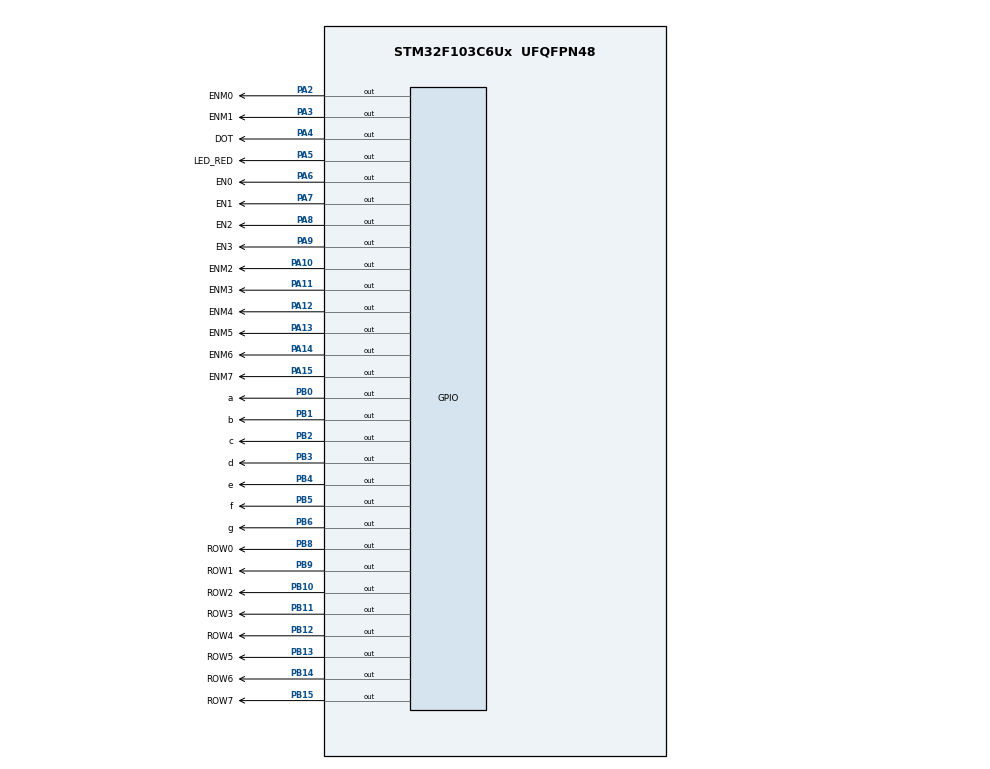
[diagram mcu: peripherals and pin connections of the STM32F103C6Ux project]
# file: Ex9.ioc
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Mcu.Family=STM32F1
Mcu.Name=STM32F103C6Ux
Mcu.Package=UFQFPN48
NVIC.PriorityGroup=NVIC_PRIORITYGROUP_4
NVIC.TIM2_IRQn=true\:0\:0\:false\:false\:true\:true\:true
PA10.GPIO_Label=ENM2
PA10.Signal=GPIO_Output
PA11.GPIO_Label=ENM3
PA11.Signal=GPIO_Output
PA12.GPIO_Label=ENM4
PA12.Signal=GPIO_Output
PA13.GPIO_Label=ENM5
PA13.Signal=GPIO_Output
PA14.GPIO_Label=ENM6
PA14.Signal=GPIO_Output
PA15.GPIO_Label=ENM7
PA15.Signal=GPIO_Output
PA2.GPIO_Label=ENM0
PA2.Signal=GPIO_Output
PA3.GPIO_Label=ENM1
PA3.Signal=GPIO_Output
PA4.GPIO_Label=DOT
PA4.Signal=GPIO_Output
PA5.GPIO_Label=LED_RED
PA5.Signal=GPIO_Output
PA6.GPIO_Label=EN0
PA6.Signal=GPIO_Output
PA7.GPIO_Label=EN1
PA7.Signal=GPIO_Output
PA8.GPIO_Label=EN2
PA8.Signal=GPIO_Output
PA9.GPIO_Label=EN3
PA9.Signal=GPIO_Output
PB0.GPIO_Label=a
PB0.Signal=GPIO_Output
PB1.GPIO_Label=b
PB1.Signal=GPIO_Output
PB10.GPIO_Label=ROW2
PB10.Signal=GPIO_Output
PB11.GPIO_Label=ROW3
PB11.Signal=GPIO_Output
PB12.GPIO_Label=ROW4
PB12.Signal=GPIO_Output
PB13.GPIO_Label=ROW5
PB13.Signal=GPIO_Output
PB14.GPIO_Label=ROW6
PB14.Signal=GPIO_Output
PB15.GPIO_Label=ROW7
PB15.Signal=GPIO_Output
PB2.GPIO_Label=c
PB2.Signal=GPIO_Output
PB3.GPIO_Label=d
PB3.Signal=GPIO_Output
PB4.GPIO_Label=e
PB4.Signal=GPIO_Output
PB5.GPIO_Label=f
PB5.Signal=GPIO_Output
PB6.GPIO_Label=g
PB6.Signal=GPIO_Output
PB8.GPIO_Label=ROW0
PB8.Signal=GPIO_Output
PB9.GPIO_Label=ROW1
PB9.Signal=GPIO_Output
ProjectManager.HeapSize=0x200
ProjectManager.StackSize=0x400
ProjectManager.TargetToolchain=STM32CubeIDE
RCC.APB1Freq_Value=8000000
RCC.APB2Freq_Value=8000000
TIM2.Period=9
TIM2.Prescaler=7999
VP_SYS_VS_ND.Mode=No_Debug
VP_TIM2_VS_ClockSourceINT.Mode=Internal
board=custom

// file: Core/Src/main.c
/* USER CODE BEGIN Header */
/**
  ******************************************************************************
  * @file           : main.c
  * @brief          : Main program body
  ******************************************************************************
  * @attention
  *
  * <h2><center>&copy; Copyright (c) 2023 STMicroelectronics.
  * All rights reserved.</center></h2>
  *
  * This software component is licensed by ST under BSD 3-Clause license,
  * the "License"; You may not use this file except in compliance with the
  * License. You may obtain a copy of the License at:
  *                        opensource.org/licenses/BSD-3-Clause
  *
  ******************************************************************************
  */
/* USER CODE END Header */
#include "main.h"
#include "software_timer.h"

TIM_HandleTypeDef htim2;

void SystemClock_Config(void);
static void MX_GPIO_Init(void);
static void MX_TIM2_Init(void);

/* USER CODE BEGIN 0 */
void display7SEG(int num){
	if (num == 0){
		HAL_GPIO_WritePin(a_GPIO_Port, a_Pin, GPIO_PIN_RESET);
		HAL_GPIO_WritePin(b_GPIO_Port, b_Pin, GPIO_PIN_RESET);
		HAL_GPIO_WritePin(c_GPIO_Port, c_Pin, GPIO_PIN_RESET);
		HAL_GPIO_WritePin(d_GPIO_Port, d_Pin, GPIO_PIN_RESET);
		HAL_GPIO_WritePin(e_GPIO_Port, e_Pin, GPIO_PIN_RESET);
		HAL_GPIO_WritePin(f_GPIO_Port, f_Pin, GPIO_PIN_RESET);
		HAL_GPIO_WritePin(g_GPIO_Port, g_Pin, GPIO_PIN_SET);
	}
	if (num == 1){
		HAL_GPIO_WritePin(a_GPIO_Port, a_Pin, GPIO_PIN_SET);
		HAL_GPIO_WritePin(b_GPIO_Port, b_Pin, GPIO_PIN_RESET);
		HAL_GPIO_WritePin(c_GPIO_Port, c_Pin, GPIO_PIN_RESET);
		HAL_GPIO_WritePin(d_GPIO_Port, d_Pin, GPIO_PIN_SET);
		HAL_GPIO_WritePin(e_GPIO_Port, e_Pin, GPIO_PIN_SET);
		HAL_GPIO_WritePin(f_GPIO_Port, f_Pin, GPIO_PIN_SET);
		HAL_GPIO_WritePin(g_GPIO_Port, g_Pin, GPIO_PIN_SET);
	}
	if (num == 2){
		HAL_GPIO_WritePin(a_GPIO_Port, a_Pin, GPIO_PIN_RESET);
		HAL_GPIO_WritePin(b_GPIO_Port, b_Pin, GPIO_PIN_RESET);
		HAL_GPIO_WritePin(c_GPIO_Port, c_Pin, GPIO_PIN_SET);
		HAL_GPIO_WritePin(d_GPIO_Port, d_Pin, GPIO_PIN_RESET);
		HAL_GPIO_WritePin(e_GPIO_Port, e_Pin, GPIO_PIN_RESET);
		HAL_GPIO_WritePin(f_GPIO_Port, f_Pin, GPIO_PIN_SET);
		HAL_GPIO_WritePin(g_GPIO_Port, g_Pin, GPIO_PIN_RESET);
	}
	if (num == 3){
		HAL_GPIO_WritePin(a_GPIO_Port, a_Pin, GPIO_PIN_RESET);
		HAL_GPIO_WritePin(b_GPIO_Port, b_Pin, GPIO_PIN_RESET);
		HAL_GPIO_WritePin(c_GPIO_Port, c_Pin, GPIO_PIN_RESET);
		HAL_GPIO_WritePin(d_GPIO_Port, d_Pin, GPIO_PIN_RESET);
		HAL_GPIO_WritePin(e_GPIO_Port, e_Pin, GPIO_PIN_SET);
		HAL_GPIO_WritePin(f_GPIO_Port, f_Pin, GPIO_PIN_SET);
		HAL_GPIO_WritePin(g_GPIO_Port, g_Pin, GPIO_PIN_RESET);
	}
	if (num == 4){
		HAL_GPIO_WritePin(a_GPIO_Port, a_Pin, GPIO_PIN_SET);
		HAL_GPIO_WritePin(b_GPIO_Port, b_Pin, GPIO_PIN_RESET);
		HAL_GPIO_WritePin(c_GPIO_Port, c_Pin, GPIO_PIN_RESET);
		HAL_GPIO_WritePin(d_GPIO_Port, d_Pin, GPIO_PIN_SET);
		HAL_GPIO_WritePin(e_GPIO_Port, e_Pin, GPIO_PIN_SET);
		HAL_GPIO_WritePin(f_GPIO_Port, f_Pin, GPIO_PIN_RESET);
		HAL_GPIO_WritePin(g_GPIO_Port, g_Pin, GPIO_PIN_RESET);
	}
	if (num == 5){
		HAL_GPIO_WritePin(a_GPIO_Port, a_Pin, GPIO_PIN_RESET);
		HAL_GPIO_WritePin(b_GPIO_Port, b_Pin, GPIO_PIN_SET);
		HAL_GPIO_WritePin(c_GPIO_Port, c_Pin, GPIO_PIN_RESET);
		HAL_GPIO_WritePin(d_GPIO_Port, d_Pin, GPIO_PIN_RESET);
		HAL_GPIO_WritePin(e_GPIO_Port, e_Pin, GPIO_PIN_SET);
		HAL_GPIO_WritePin(f_GPIO_Port, f_Pin, GPIO_PIN_RESET);
		HAL_GPIO_WritePin(g_GPIO_Port, g_Pin, GPIO_PIN_RESET);
	}
	if (num == 6){
		HAL_GPIO_WritePin(a_GPIO_Port, a_Pin, GPIO_PIN_RESET);
		HAL_GPIO_WritePin(b_GPIO_Port, b_Pin, GPIO_PIN_SET);
		HAL_GPIO_WritePin(c_GPIO_Port, c_Pin, GPIO_PIN_RESET);
		HAL_GPIO_WritePin(d_GPIO_Port, d_Pin, GPIO_PIN_RESET);
		HAL_GPIO_WritePin(e_GPIO_Port, e_Pin, GPIO_PIN_RESET);
		HAL_GPIO_WritePin(f_GPIO_Port, f_Pin, GPIO_PIN_RESET);
		HAL_GPIO_WritePin(g_GPIO_Port, g_Pin, GPIO_PIN_RESET);
	}
	if (num == 7){
		HAL_GPIO_WritePin(a_GPIO_Port, a_Pin, GPIO_PIN_RESET);
		HAL_GPIO_WritePin(b_GPIO_Port, b_Pin, GPIO_PIN_RESET);
		HAL_GPIO_WritePin(c_GPIO_Port, c_Pin, GPIO_PIN_RESET);
		HAL_GPIO_WritePin(d_GPIO_Port, d_Pin, GPIO_PIN_SET);
		HAL_GPIO_WritePin(e_GPIO_Port, e_Pin, GPIO_PIN_SET);
		HAL_GPIO_WritePin(f_GPIO_Port, f_Pin, GPIO_PIN_SET);
		HAL_GPIO_WritePin(g_GPIO_Port, g_Pin, GPIO_PIN_SET);
	}
	if (num == 8){
		HAL_GPIO_WritePin(a_GPIO_Port, a_Pin, GPIO_PIN_RESET);
		HAL_GPIO_WritePin(b_GPIO_Port, b_Pin, GPIO_PIN_RESET);
		HAL_GPIO_WritePin(c_GPIO_Port, c_Pin, GPIO_PIN_RESET);
		HAL_GPIO_WritePin(d_GPIO_Port, d_Pin, GPIO_PIN_RESET);
		HAL_GPIO_WritePin(e_GPIO_Port, e_Pin, GPIO_PIN_RESET);
		HAL_GPIO_WritePin(f_GPIO_Port, f_Pin, GPIO_PIN_RESET);
		HAL_GPIO_WritePin(g_GPIO_Port, g_Pin, GPIO_PIN_RESET);
	}
	if (num == 9) {
		HAL_GPIO_WritePin(a_GPIO_Port, a_Pin, GPIO_PIN_RESET);
		HAL_GPIO_WritePin(b_GPIO_Port, b_Pin, GPIO_PIN_RESET);
		HAL_GPIO_WritePin(c_GPIO_Port, c_Pin, GPIO_PIN_RESET);
		HAL_GPIO_WritePin(d_GPIO_Port, d_Pin, GPIO_PIN_RESET);
		HAL_GPIO_WritePin(e_GPIO_Port, e_Pin, GPIO_PIN_SET);
		HAL_GPIO_WritePin(f_GPIO_Port, f_Pin, GPIO_PIN_RESET);
		HAL_GPIO_WritePin(g_GPIO_Port, g_Pin, GPIO_PIN_RESET);
	}
}

const int MAX_LED = 4;
int index_led = 0;
int led_buffer[4] = {1, 2, 3, 0};
void update7SEG(int index){
	switch (index){
		case 0:
			//Display the first 7SEG with led_buffer[0]
			setTimer1(100);
			display7SEG(led_buffer[0]);
  		  	HAL_GPIO_WritePin(EN0_GPIO_Port, EN0_Pin, RESET);
  		  	HAL_GPIO_WritePin(EN1_GPIO_Port, EN1_Pin, SET);
 		  	HAL_GPIO_WritePin(EN2_GPIO_Port, EN2_Pin, SET);
  		  	HAL_GPIO_WritePin(EN3_GPIO_Port, EN3_Pin, SET);
			break;
		case 1:
			//Display the first 7SEG with led_buffer[1]
			setTimer1(100);
			display7SEG(led_buffer[1]);
  		  	HAL_GPIO_WritePin(EN0_GPIO_Port, EN0_Pin, SET);
  		  	HAL_GPIO_WritePin(EN1_GPIO_Port, EN1_Pin, RESET);
 		  	HAL_GPIO_WritePin(EN2_GPIO_Port, EN2_Pin, SET);
  		  	HAL_GPIO_WritePin(EN3_GPIO_Port, EN3_Pin, SET);
			break;
		case 2:
			//Display the first 7SEG with led_buffer[2]
			setTimer1(100);
			display7SEG(led_buffer[2]);
  		  	HAL_GPIO_WritePin(EN0_GPIO_Port, EN0_Pin, SET);
  		  	HAL_GPIO_WritePin(EN1_GPIO_Port, EN1_Pin, SET);
 		  	HAL_GPIO_WritePin(EN2_GPIO_Port, EN2_Pin, RESET);
  		  	HAL_GPIO_WritePin(EN3_GPIO_Port, EN3_Pin, SET);
			break;
		case 3:
			//Display the first 7SEG with led_buffer[3]
			setTimer1(100);
			display7SEG(led_buffer[3]);
  		  	HAL_GPIO_WritePin(EN0_GPIO_Port, EN0_Pin, SET);
  		  	HAL_GPIO_WritePin(EN1_GPIO_Port, EN1_Pin, SET);
 		  	HAL_GPIO_WritePin(EN2_GPIO_Port, EN2_Pin, SET);
  		  	HAL_GPIO_WritePin(EN3_GPIO_Port, EN3_Pin, RESET);
			break;
	}
}

void updateClockBuffer(int hour, int min){
	if (hour >= 0 && hour <= 9){
		led_buffer[0] = 0;
		led_buffer[1] = hour;
	}
	else if (hour >= 10 && hour <= 19){
		led_buffer[0] = 1;
		led_buffer[1] = hour-10;
	}
	else if (hour >= 20 && hour <= 24){
		led_buffer[0] = 2;
		led_buffer[1] = hour-20;
	}
	if (min <= 9){
		led_buffer[2] = 0;
		led_buffer[3] = min;
	}
	if (min >= 10 && min <= 19){
		led_buffer[2] = 1;
		led_buffer[3] = min-10;
	}
	if (min >= 20 && min <= 29){
		led_buffer[2] = 2;
		led_buffer[3] = min-20;
	}
	if (min >= 30 && min <= 39){
		led_buffer[2] = 3;
		led_buffer[3] = min-30;
	}
	if (min >= 40 && min <= 49){
		led_buffer[2] = 4;
		led_buffer[3] = min-40;
	}
	if (min >= 50 && min <= 59){
		led_buffer[2] = 5;
		led_buffer[3] = min-50;
	}
}

void clearCol(){
	HAL_GPIO_WritePin(ENM0_GPIO_Port, ENM0_Pin, SET);
	HAL_GPIO_WritePin(ENM1_GPIO_Port, ENM1_Pin, SET);
	HAL_GPIO_WritePin(ENM2_GPIO_Port, ENM2_Pin, SET);
	HAL_GPIO_WritePin(ENM3_GPIO_Port, ENM3_Pin, SET);
	HAL_GPIO_WritePin(ENM4_GPIO_Port, ENM4_Pin, SET);
	HAL_GPIO_WritePin(ENM5_GPIO_Port, ENM5_Pin, SET);
	HAL_GPIO_WritePin(ENM6_GPIO_Port, ENM6_Pin, SET);
	HAL_GPIO_WritePin(ENM7_GPIO_Port, ENM7_Pin, SET);
}

void clearRow(){
	HAL_GPIO_WritePin(ROW0_GPIO_Port, ROW0_Pin, SET);
	HAL_GPIO_WritePin(ROW1_GPIO_Port, ROW1_Pin, SET);
	HAL_GPIO_WritePin(ROW2_GPIO_Port, ROW2_Pin, SET);
	HAL_GPIO_WritePin(ROW3_GPIO_Port, ROW3_Pin, SET);
	HAL_GPIO_WritePin(ROW4_GPIO_Port, ROW4_Pin, SET);
	HAL_GPIO_WritePin(ROW5_GPIO_Port, ROW5_Pin, SET);
	HAL_GPIO_WritePin(ROW6_GPIO_Port, ROW6_Pin, SET);

}
void setCol(uint8_t code){
	  if((code >> 0) & 0x01)
		  HAL_GPIO_WritePin(ENM7_GPIO_Port, ENM7_Pin, RESET);
	  if((code >> 1) & 0x01)
		  HAL_GPIO_WritePin(ENM6_GPIO_Port, ENM6_Pin, RESET);
	  if((code >> 2) & 0x01)
		  HAL_GPIO_WritePin(ENM5_GPIO_Port, ENM5_Pin, RESET);
	  if((code >> 3) & 0x01)
		  HAL_GPIO_WritePin(ENM4_GPIO_Port, ENM4_Pin, RESET);
	  if((code >> 4) & 0x01)
		  HAL_GPIO_WritePin(ENM3_GPIO_Port, ENM3_Pin, RESET);
	  if((code >> 5) & 0x01)
		  HAL_GPIO_WritePin(ENM2_GPIO_Port, ENM2_Pin, RESET);
	  if((code >> 6) & 0x01)
		  HAL_GPIO_WritePin(ENM1_GPIO_Port, ENM1_Pin, RESET);
	  if((code >> 7) & 0x01)
		  HAL_GPIO_WritePin(ENM0_GPIO_Port, ENM0_Pin, RESET);
}
void setRow(uint8_t code){
	  if((code >> 0) & 0x01)
		  HAL_GPIO_WritePin(ROW7_GPIO_Port, ROW7_Pin, RESET);
	  if((code >> 1) & 0x01)
		  HAL_GPIO_WritePin(ROW6_GPIO_Port, ROW6_Pin, RESET);
	  if((code >> 2) & 0x01)
		  HAL_GPIO_WritePin(ROW5_GPIO_Port, ROW5_Pin, RESET);
	  if((code >> 3) & 0x01)
		  HAL_GPIO_WritePin(ROW4_GPIO_Port, ROW4_Pin, RESET);
	  if((code >> 4) & 0x01)
		  HAL_GPIO_WritePin(ROW3_GPIO_Port, ROW3_Pin, RESET);
	  if((code >> 5) & 0x01)
		  HAL_GPIO_WritePin(ROW2_GPIO_Port, ROW2_Pin, RESET);
	  if((code >> 6) & 0x01)
		  HAL_GPIO_WritePin(ROW1_GPIO_Port, ROW1_Pin, RESET);
	  if((code >> 7) & 0x01)
		  HAL_GPIO_WritePin(ROW0_GPIO_Port, ROW0_Pin, RESET);
}
const int MAX_LED_MATRIX = 8;
int index_led_matrix = 0;
// 0001 1000
uint8_t matrix_buffer[8] = {0x00, 0x3E, 0x48, 0x88, 0x48, 0x3E, 0x00, 0x00};
void updateLEDMatrix(int index_led_matrix){
    	  	clearCol();
      		clearRow();
      	switch(index_led_matrix){
      		case 0:
      			HAL_GPIO_WritePin(GPIOA, ENM0_Pin, RESET);
      			break;
      		case 1:
      			HAL_GPIO_WritePin(GPIOA, ENM1_Pin, RESET);
      			break;
      		case 2:
      			HAL_GPIO_WritePin(GPIOA, ENM2_Pin, RESET);
      			break;
      		case 3:
      			HAL_GPIO_WritePin(GPIOA, ENM3_Pin, RESET);
      			break;
      		case 4:
      			HAL_GPIO_WritePin(GPIOA, ENM4_Pin, RESET);
      			break;
      		case 5:
      			HAL_GPIO_WritePin(GPIOA, ENM5_Pin, RESET);
      			break;
      		case 6:
      			HAL_GPIO_WritePin(GPIOA, ENM6_Pin, RESET);
      			break;
      		case 7:
      			HAL_GPIO_WritePin(GPIOA, ENM7_Pin, RESET);
      			break;
      		default:
      			break;
      	}
      	setRow(matrix_buffer[index_led_matrix]);
}

/*
 * void updateLEDMatrix(int index_led_matrix){
    	  	clearCol();
      		clearRow();
      	switch(index_led_matrix){
      		case 0:
      			HAL_GPIO_WritePin(GPIOA, ROW0_Pin, RESET);
      			break;
      		case 1:
      			HAL_GPIO_WritePin(GPIOA, ROW1_Pin, RESET);
      			break;
      		case 2:
      			HAL_GPIO_WritePin(GPIOA, ROW2_Pin, RESET);
      			break;
      		case 3:
      			HAL_GPIO_WritePin(GPIOA, ROW3_Pin, RESET);
      			break;
      		case 4:
      			HAL_GPIO_WritePin(GPIOA, ROW4_Pin, RESET);
      			break;
      		case 5:
      			HAL_GPIO_WritePin(GPIOA, ROW5_Pin, RESET);
      			break;
      		case 6:
      			HAL_GPIO_WritePin(GPIOA, ROW6_Pin, RESET);
      			break;
      		case 7:
      			HAL_GPIO_WritePin(GPIOA, ROW7_Pin, RESET);
      			break;
      		default:
      			break;
      	}
      	setCol(matrix_buffer[index_led_matrix]);
}*/
/* USER CODE END 0 */

int main(void)
{

  /* MCU Configuration--------------------------------------------------------*/

  /* Reset of all peripherals, Initializes the Flash interface and the Systick. */
  HAL_Init();

  /* USER CODE BEGIN Init */
//  int status = 1;
  setTimer0(10);
  setTimer1(100);
  setTimer2(100);
  setTimer3(100);
  setTimer4(100);
//  HAL_GPIO_WritePin(ENM0_GPIO_Port, ENM0_Pin, SET);
//  HAL_GPIO_WritePin(ENM1_GPIO_Port, ENM1_Pin, SET);
//  HAL_GPIO_WritePin(ENM2_GPIO_Port, ENM2_Pin, SET);
//  HAL_GPIO_WritePin(ENM3_GPIO_Port, ENM3_Pin, SET);
//  HAL_GPIO_WritePin(ENM4_GPIO_Port, ENM4_Pin, SET);
//  HAL_GPIO_WritePin(ENM5_GPIO_Port, ENM5_Pin, SET);
//  HAL_GPIO_WritePin(ENM6_GPIO_Port, ENM6_Pin, SET);
//  HAL_GPIO_WritePin(ENM7_GPIO_Port, ENM7_Pin, SET);
//
//  HAL_GPIO_WritePin(ROW0_GPIO_Port, ROW0_Pin, SET);
//  HAL_GPIO_WritePin(ROW1_GPIO_Port, ROW1_Pin, SET);
//  HAL_GPIO_WritePin(ROW2_GPIO_Port, ROW2_Pin, SET);
//  HAL_GPIO_WritePin(ROW3_GPIO_Port, ROW3_Pin, SET);
//  HAL_GPIO_WritePin(ROW4_GPIO_Port, ROW4_Pin, SET);
//  HAL_GPIO_WritePin(ROW5_GPIO_Port, ROW5_Pin, SET);
//  HAL_GPIO_WritePin(ROW6_GPIO_Port, ROW6_Pin, SET);
//  HAL_GPIO_WritePin(ROW7_GPIO_Port, ROW7_Pin, SET);

  /* USER CODE END Init */

  /* Configure the system clock */
  SystemClock_Config();

  /* Initialize all configured peripherals */
  MX_GPIO_Init();
  MX_TIM2_Init();
  /* USER CODE BEGIN 2 */
  HAL_TIM_Base_Start_IT(&htim2);
  /* USER CODE END 2 */

  /* Infinite loop */
  /* USER CODE BEGIN WHILE */
  int hour = 15, min = 8, sec = 50;
  while (1)
  {
    /* USER CODE END WHILE */

    /* USER CODE BEGIN 3 */
	  if (timer0_flag == 1){
		  if (sec >= 60){
			  sec = 0;
			  min++;
		  }
		  if (min >= 60){
			  min = 0;
			  hour++;
		  }
		  if (hour >=24){
			  hour = 0;
		  }
		  sec++;
		  updateClockBuffer(hour,min);
		  setTimer0(100);
	  }

  	  if (timer1_flag == 1){
  		  update7SEG(index_led);
  		  if (index_led >= 3){
  			  index_led = 0;
  		  }
  		  else {
  			  index_led++;
  		  }
  	  }
  	  if (timer2_flag == 1){
  		  HAL_GPIO_TogglePin(LED_RED_GPIO_Port, LED_RED_Pin);
  		  setTimer2(100);
  	  }
  	  if (timer3_flag == 1){
  		  HAL_GPIO_TogglePin(DOT_GPIO_Port, DOT_Pin);
  		  setTimer3(100);
  	  }

  	  if (timer4_flag == 1){
  		  updateLEDMatrix(index_led_matrix++);
  		  if (index_led_matrix == MAX_LED_MATRIX){
 			  index_led_matrix = 0;
 		  }

  		  setTimer4(50);

  	  }

  	}
  /* USER CODE END 3 */
}

void SystemClock_Config(void)
{
  RCC_OscInitTypeDef RCC_OscInitStruct = {0};
  RCC_ClkInitTypeDef RCC_ClkInitStruct = {0};

  /** Initializes the RCC Oscillators according to the specified parameters
  * in the RCC_OscInitTypeDef structure.
  */
  RCC_OscInitStruct.OscillatorType = RCC_OSCILLATORTYPE_HSI;
  RCC_OscInitStruct.HSIState = RCC_HSI_ON;
  RCC_OscInitStruct.HSICalibrationValue = RCC_HSICALIBRATION_DEFAULT;
  RCC_OscInitStruct.PLL.PLLState = RCC_PLL_NONE;
  if (HAL_RCC_OscConfig(&RCC_OscInitStruct) != HAL_OK)
  {
    Error_Handler();
  }
  /** Initializes the CPU, AHB and APB buses clocks
  */
  RCC_ClkInitStruct.ClockType = RCC_CLOCKTYPE_HCLK|RCC_CLOCKTYPE_SYSCLK
                              |RCC_CLOCKTYPE_PCLK1|RCC_CLOCKTYPE_PCLK2;
  RCC_ClkInitStruct.SYSCLKSource = RCC_SYSCLKSOURCE_HSI;
  RCC_ClkInitStruct.AHBCLKDivider = RCC_SYSCLK_DIV1;
  RCC_ClkInitStruct.APB1CLKDivider = RCC_HCLK_DIV1;
  RCC_ClkInitStruct.APB2CLKDivider = RCC_HCLK_DIV1;

  if (HAL_RCC_ClockConfig(&RCC_ClkInitStruct, FLASH_LATENCY_0) != HAL_OK)
  {
    Error_Handler();
  }
}

static void MX_TIM2_Init(void)
{

  TIM_ClockConfigTypeDef sClockSourceConfig = {0};
  TIM_MasterConfigTypeDef sMasterConfig = {0};

  htim2.Instance = TIM2;
  htim2.Init.Prescaler = 7999;
  htim2.Init.CounterMode = TIM_COUNTERMODE_UP;
  htim2.Init.Period = 9;
  htim2.Init.ClockDivision = TIM_CLOCKDIVISION_DIV1;
  htim2.Init.AutoReloadPreload = TIM_AUTORELOAD_PRELOAD_DISABLE;
  if (HAL_TIM_Base_Init(&htim2) != HAL_OK)
  {
    Error_Handler();
  }
  sClockSourceConfig.ClockSource = TIM_CLOCKSOURCE_INTERNAL;
  if (HAL_TIM_ConfigClockSource(&htim2, &sClockSourceConfig) != HAL_OK)
  {
    Error_Handler();
  }
  sMasterConfig.MasterOutputTrigger = TIM_TRGO_RESET;
  sMasterConfig.MasterSlaveMode = TIM_MASTERSLAVEMODE_DISABLE;
  if (HAL_TIMEx_MasterConfigSynchronization(&htim2, &sMasterConfig) != HAL_OK)
  {
    Error_Handler();
  }

}

static void MX_GPIO_Init(void)
{
  GPIO_InitTypeDef GPIO_InitStruct = {0};

  /* GPIO Ports Clock Enable */
  __HAL_RCC_GPIOA_CLK_ENABLE();
  __HAL_RCC_GPIOB_CLK_ENABLE();

  /*Configure GPIO pin Output Level */
  HAL_GPIO_WritePin(GPIOA, ENM0_Pin|ENM1_Pin|DOT_Pin|LED_RED_Pin
                          |EN0_Pin|EN1_Pin|EN2_Pin|EN3_Pin
                          |ENM2_Pin|ENM3_Pin|ENM4_Pin|ENM5_Pin
                          |ENM6_Pin|ENM7_Pin, GPIO_PIN_RESET);

  /*Configure GPIO pin Output Level */
  HAL_GPIO_WritePin(GPIOB, a_Pin|b_Pin|c_Pin|ROW2_Pin
                          |ROW3_Pin|ROW4_Pin|ROW5_Pin|ROW6_Pin
                          |ROW7_Pin|d_Pin|e_Pin|f_Pin
                          |g_Pin|ROW0_Pin|ROW1_Pin, GPIO_PIN_RESET);

  /*Configure GPIO pins : ENM0_Pin ENM1_Pin DOT_Pin LED_RED_Pin
                           EN0_Pin EN1_Pin EN2_Pin EN3_Pin
                           ENM2_Pin ENM3_Pin ENM4_Pin ENM5_Pin
                           ENM6_Pin ENM7_Pin */
  GPIO_InitStruct.Pin = ENM0_Pin|ENM1_Pin|DOT_Pin|LED_RED_Pin
                          |EN0_Pin|EN1_Pin|EN2_Pin|EN3_Pin
                          |ENM2_Pin|ENM3_Pin|ENM4_Pin|ENM5_Pin
                          |ENM6_Pin|ENM7_Pin;
  GPIO_InitStruct.Mode = GPIO_MODE_OUTPUT_PP;
  GPIO_InitStruct.Pull = GPIO_NOPULL;
  GPIO_InitStruct.Speed = GPIO_SPEED_FREQ_LOW;
  HAL_GPIO_Init(GPIOA, &GPIO_InitStruct);

  /*Configure GPIO pins : a_Pin b_Pin c_Pin ROW2_Pin
                           ROW3_Pin ROW4_Pin ROW5_Pin ROW6_Pin
                           ROW7_Pin d_Pin e_Pin f_Pin
                           g_Pin ROW0_Pin ROW1_Pin */
  GPIO_InitStruct.Pin = a_Pin|b_Pin|c_Pin|ROW2_Pin
                          |ROW3_Pin|ROW4_Pin|ROW5_Pin|ROW6_Pin
                          |ROW7_Pin|d_Pin|e_Pin|f_Pin
                          |g_Pin|ROW0_Pin|ROW1_Pin;
  GPIO_InitStruct.Mode = GPIO_MODE_OUTPUT_PP;
  GPIO_InitStruct.Pull = GPIO_NOPULL;
  GPIO_InitStruct.Speed = GPIO_SPEED_FREQ_LOW;
  HAL_GPIO_Init(GPIOB, &GPIO_InitStruct);

}

/* USER CODE BEGIN 4 */
void HAL_TIM_PeriodElapsedCallback(TIM_HandleTypeDef *htim){
	timerRun();
}
/* USER CODE END 4 */

void Error_Handler(void)
{
  __disable_irq();
  while (1)
  {
  }
}

/************************ (C) COPYRIGHT STMicroelectronics *****END OF FILE****/
